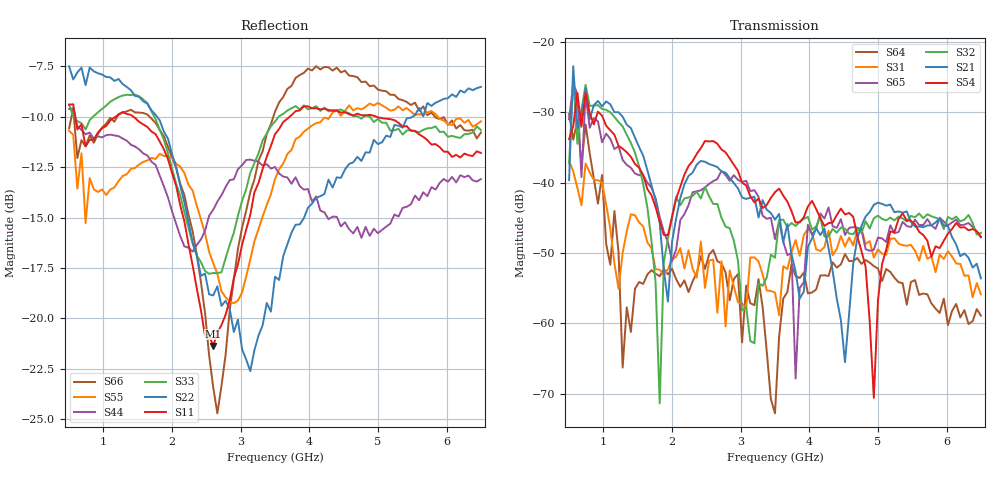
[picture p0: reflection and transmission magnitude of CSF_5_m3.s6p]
!Keysight Technologies,M9804A,MY58100912,A.14.10.03
!Date: Thursday, April 27, 2023 10:28:33
!Correction: S11(C  6-Port  )
!S12(C  6-Port  )
!S13(C  6-Port  )
!S14(C  6-Port  )
!S15(C  6-Port  )
!S16(C  6-Port  )
!S21(C  6-Port  )
!S22(C  6-Port  )
!S23(C  6-Port  )
!S24(C  6-Port  )
!S25(C  6-Port  )
!S26(C  6-Port  )
!S31(C  6-Port  )
!S32(C  6-Port  )
!S33(C  6-Port  )
!S34(C  6-Port  )
!S35(C  6-Port  )
!S36(C  6-Port  )
!S41(C  6-Port  )
!S42(C  6-Port  )
!S43(C  6-Port  )
!S44(C  6-Port  )
!S45(C  6-Port  )
!S46(C  6-Port  )
!S51(C  6-Port  )
!S52(C  6-Port  )
!S53(C  6-Port  )
!S54(C  6-Port  )
!S55(C  6-Port  )
!S56(C  6-Port  )
!S61(C  6-Port  )
!S62(C  6-Port  )
!S63(C  6-Port  )
!S64(C  6-Port  )
!S65(C  6-Port  )
!S66(C  6-Port  )
!S6P File: Measurement: :
# Hz S  RI  R 50
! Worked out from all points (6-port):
!   101 points, 500 MHz to 6.5 GHz, reference 50 ohm
!   strongest paths, dB at 500 MHz, 2 GHz, 3.5 GHz, 5 GHz, 6.5 GHz:
!     S54: -33.8, -44.9, -41.4, -56.8, -47.7
!     S21: -39.6, -48.4, -45.3, -42.8, -53.6
!     S32: -37.3, -44.9, -50.7, -44.7, -47.1
!     S65: -31.0, -51.1, -48.0, -47.8, -47.8
!     S31: -36.9, -50.9, -55.6, -49.5, -55.9
!     S64: -30.2, -52.2, -72.8, -52.2, -58.9
!   lowest |S11| = -21.4 dB at 2.6 GHz (marker M1), VSWR 1.19, Z = 42.4 + j2.2 ohm
!   |S11| at or under -10 dB: 589.8 MHz to 1.175 GHz (585.3 MHz wide, 66.3 % of centre); 1.437 GHz to 3.713 GHz (2.276 GHz wide, 88.4 % of centre); 4.979 GHz to end of sweep
